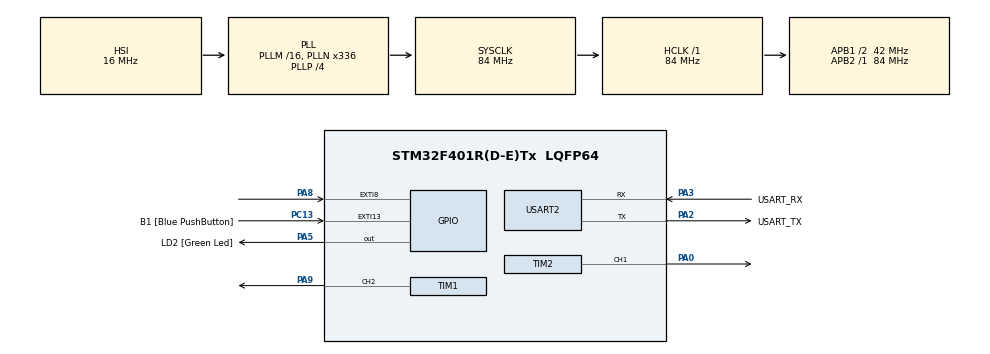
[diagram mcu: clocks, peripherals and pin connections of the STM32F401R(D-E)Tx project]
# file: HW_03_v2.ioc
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Mcu.Family=STM32F4
Mcu.Name=STM32F401R(D-E)Tx
Mcu.Package=LQFP64
NVIC.EXTI9_5_IRQn=true\:1\:0\:true\:false\:true\:true\:true\:true
NVIC.PriorityGroup=NVIC_PRIORITYGROUP_1
NVIC.TIM2_IRQn=true\:0\:0\:false\:false\:true\:true\:true\:true
PA0-WKUP.Signal=S_TIM2_CH1_ETR
PA13.GPIO_Label=TMS
PA13.Mode=Serial_Wire
PA13.Signal=SYS_JTMS-SWDIO
PA14.GPIO_Label=TCK
PA14.Mode=Serial_Wire
PA14.Signal=SYS_JTCK-SWCLK
PA2.GPIO_Label=USART_TX
PA2.GPIO_Mode=GPIO_MODE_AF_PP
PA2.GPIO_PuPd=GPIO_NOPULL
PA2.GPIO_Speed=GPIO_SPEED_FREQ_LOW
PA2.Mode=Asynchronous
PA2.Signal=USART2_TX
PA3.GPIO_Label=USART_RX
PA3.GPIO_Mode=GPIO_MODE_AF_PP
PA3.GPIO_PuPd=GPIO_NOPULL
PA3.GPIO_Speed=GPIO_SPEED_FREQ_LOW
PA3.Mode=Asynchronous
PA3.Signal=USART2_RX
PA5.GPIO_Label=LD2 [Green Led]
PA5.GPIO_Mode=GPIO_MODE_OUTPUT_PP
PA5.GPIO_PuPd=GPIO_NOPULL
PA5.GPIO_Speed=GPIO_SPEED_FREQ_LOW
PA5.Signal=GPIO_Output
PA8.Signal=GPXTI8
PA9.Signal=S_TIM1_CH2
PB3.GPIO_Label=SWO
PB3.Signal=SYS_JTDO-SWO
PC13-ANTI_TAMP.GPIO_Label=B1 [Blue PushButton]
PC13-ANTI_TAMP.GPIO_ModeDefaultEXTI=GPIO_MODE_IT_FALLING
PC13-ANTI_TAMP.GPIO_PuPd=GPIO_NOPULL
PC13-ANTI_TAMP.Signal=GPXTI13
PC14-OSC32_IN.Mode=LSE-External-Oscillator
PC14-OSC32_IN.Signal=RCC_OSC32_IN
PC15-OSC32_OUT.Mode=LSE-External-Oscillator
PC15-OSC32_OUT.Signal=RCC_OSC32_OUT
PH0\ -\ OSC_IN.Mode=HSE-External-Clock-Source
PH0\ -\ OSC_IN.Signal=RCC_OSC_IN
PH1\ -\ OSC_OUT.Mode=HSE-External-Clock-Source
PH1\ -\ OSC_OUT.Signal=RCC_OSC_OUT
ProjectManager.HeapSize=0x200
ProjectManager.StackSize=0x400
ProjectManager.TargetToolchain=STM32CubeIDE
RCC.48MHZClocksFreq_Value=48000000
RCC.AHBFreq_Value=84000000
RCC.APB1CLKDivider=RCC_HCLK_DIV2
RCC.APB1Freq_Value=42000000
RCC.APB1TimFreq_Value=84000000
RCC.APB2Freq_Value=84000000
RCC.APB2TimFreq_Value=84000000
RCC.CortexFreq_Value=84000000
RCC.HCLKFreq_Value=84000000
RCC.HSE_VALUE=8000000
RCC.HSI_VALUE=16000000
RCC.PLLN=336
RCC.PLLP=RCC_PLLP_DIV4
RCC.PLLQ=7
RCC.SYSCLKFreq_VALUE=84000000
RCC.SYSCLKSource=RCC_SYSCLKSOURCE_PLLCLK
RCC.VCOOutputFreq_Value=336000000
SH.S_TIM1_CH2.0=TIM1_CH2,PWM Generation2 CH2
SH.S_TIM2_CH1_ETR.0=TIM2_CH1,Output Compare1 CH1
TIM1.Channel-PWM\ Generation2\ CH2=TIM_CHANNEL_2
TIM2.Channel-Output\ Compare1\ CH1=TIM_CHANNEL_1
TIM2.Period=10000-1
TIM2.Prescaler=8400
USART2.VirtualMode=VM_ASYNC
VP_TIM1_VS_ClockSourceINT.Mode=Internal
VP_TIM2_VS_ClockSourceINT.Mode=Internal
board=NUCLEO-F401RE

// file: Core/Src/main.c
/* USER CODE BEGIN Header */
/**
  ******************************************************************************
  * @file           : main.c
  * @brief          : Main program body
  ******************************************************************************
  * @attention
  *
  * Copyright (c) 2024 STMicroelectronics.
  * All rights reserved.
  *
  * This software is licensed under terms that can be found in the LICENSE file
  * in the root directory of this software component.
  * If no LICENSE file comes with this software, it is provided AS-IS.
  *
  ******************************************************************************
  */
/* USER CODE END Header */
#include "main.h"

/* USER CODE BEGIN PTD */

typedef struct note {
	int period;
	int duration;
} note;

/* USER CODE END PTD */

/* USER CODE BEGIN PD */

#define _DO4 3205
#define _DOD4 3031
#define _RE4 2856
#define _RED4 2699
#define _MI4 2544
#define _FA4 2405
#define _FAD4 2269
#define _SOL4 2141
#define _SOLD4 3141
#define _LA4 1908
#define _LAD4 1801
#define _SI4 1699

#define TIME 75

/* USER CODE END PD */

TIM_HandleTypeDef htim1;
TIM_HandleTypeDef htim2;

UART_HandleTypeDef huart2;

/* USER CODE BEGIN PV */

// Hymn to joy
note song[] = {
		{ _MI4, 2},
		{ _MI4, 2},
		{ _FA4, 2},
		{ _SOL4, 2},
		{ _SOL4, 2},
		{ _FA4, 2},
		{ _MI4, 2},
		{ _RE4, 2},
		{ _DO4,2},
		{ _DO4,2},
		{ _RE4, 2},
		{ _MI4, 2},
		{ _MI4, 2},
		{ _RE4, 1.5},
		{ _RE4, 3},
		{ _MI4, 2},
		{ _MI4, 2},
		{ _FA4, 2},
		{ _SOL4, 2},
		{ _SOL4, 2},
		{ _FA4, 2},
		{ _MI4, 2},
		{ _RE4, 2},
		{ _DO4, 2},
		{ _DO4, 2},
		{ _RE4, 2},
		{ _MI4, 2},
		{ _RE4, 2},
		{ _DO4, 1.5},
		{ _DO4, 3}
};

int currentNote = 0;
volatile uint8_t play = 0;

/* USER CODE END PV */

void SystemClock_Config(void);
static void MX_GPIO_Init(void);
static void MX_USART2_UART_Init(void);
static void MX_TIM1_Init(void);
static void MX_TIM2_Init(void);

/* USER CODE BEGIN 0 */

void playNote() {
	TIM_ClockConfigTypeDef sClockSourceConfig = {0};
	  TIM_MasterConfigTypeDef sMasterConfig = {0};
	  TIM_OC_InitTypeDef sConfigOC = {0};
	  TIM_BreakDeadTimeConfigTypeDef sBreakDeadTimeConfig = {0};

	  htim1.Instance = TIM1;
	  htim1.Init.Prescaler = 100-1;                                                ///LA4=1908=denominatore, voglio f=440hz, quindi Prescaler deve=100. infatti f=440=84*10^6 / (100*1908)
	  htim1.Init.CounterMode = TIM_COUNTERMODE_UP;
	  htim1.Init.Period = song[currentNote].period;                                ///period è la nota definita con la define
	  htim1.Init.ClockDivision = TIM_CLOCKDIVISION_DIV1;
	  htim1.Init.RepetitionCounter = 0;
	  htim1.Init.AutoReloadPreload = TIM_AUTORELOAD_PRELOAD_DISABLE;
	  if (HAL_TIM_Base_Init(&htim1) != HAL_OK)
	  {
		Error_Handler();
	  }
	  sClockSourceConfig.ClockSource = TIM_CLOCKSOURCE_INTERNAL;
	  if (HAL_TIM_ConfigClockSource(&htim1, &sClockSourceConfig) != HAL_OK)
	  {
		Error_Handler();
	  }
	  if (HAL_TIM_PWM_Init(&htim1) != HAL_OK)
	  {
		Error_Handler();
	  }
	  sMasterConfig.MasterOutputTrigger = TIM_TRGO_RESET;
	  sMasterConfig.MasterSlaveMode = TIM_MASTERSLAVEMODE_DISABLE;
	  if (HAL_TIMEx_MasterConfigSynchronization(&htim1, &sMasterConfig) != HAL_OK)
	  {
		Error_Handler();
	  }
	  sConfigOC.OCMode = TIM_OCMODE_PWM1;
	  sConfigOC.Pulse = song[currentNote].period / 2;                                   ///because i want the duty cycle of 50%
	  sConfigOC.OCPolarity = TIM_OCPOLARITY_HIGH;
	  sConfigOC.OCNPolarity = TIM_OCNPOLARITY_HIGH;
	  sConfigOC.OCFastMode = TIM_OCFAST_DISABLE;
	  sConfigOC.OCIdleState = TIM_OCIDLESTATE_RESET;
	  sConfigOC.OCNIdleState = TIM_OCNIDLESTATE_RESET;
	  if (HAL_TIM_PWM_ConfigChannel(&htim1, &sConfigOC, TIM_CHANNEL_2) != HAL_OK)
	  {
		Error_Handler();
	  }
	  sBreakDeadTimeConfig.OffStateRunMode = TIM_OSSR_DISABLE;
	  sBreakDeadTimeConfig.OffStateIDLEMode = TIM_OSSI_DISABLE;
	  sBreakDeadTimeConfig.LockLevel = TIM_LOCKLEVEL_OFF;
	  sBreakDeadTimeConfig.DeadTime = 0;
	  sBreakDeadTimeConfig.BreakState = TIM_BREAK_DISABLE;
	  sBreakDeadTimeConfig.BreakPolarity = TIM_BREAKPOLARITY_HIGH;
	  sBreakDeadTimeConfig.AutomaticOutput = TIM_AUTOMATICOUTPUT_DISABLE;
	  if (HAL_TIMEx_ConfigBreakDeadTime(&htim1, &sBreakDeadTimeConfig) != HAL_OK)
	  {
		Error_Handler();
	  }

	  HAL_TIM_MspPostInit(&htim1);

	  HAL_TIM_PWM_Start(&htim1, TIM_CHANNEL_2);  // Start the PWM
}

void startDuration() {

	//__HAL_TIM_SET_AUTORELOAD(&htim2, 10000-1);      // commented because is a wrong duration
	  TIM_ClockConfigTypeDef sClockSourceConfig = {0};
	  TIM_MasterConfigTypeDef sMasterConfig = {0};
	  TIM_OC_InitTypeDef sConfigOC = {0};

	  /* USER CODE BEGIN TIM2_Init 1 */

	  /* USER CODE END TIM2_Init 1 */
	  htim2.Instance = TIM2;
	  htim2.Init.Prescaler = 8400;
	  htim2.Init.CounterMode = TIM_COUNTERMODE_UP;

	  htim2.Init.Period = (2000-1) * song[currentNote].duration;   // (Period = 10000 - 1 == 1 second), prescaler = 8400 and period = 2000, then f=5hz and T=0.2s
	  htim2.Init.ClockDivision = TIM_CLOCKDIVISION_DIV1;
	  htim2.Init.AutoReloadPreload = TIM_AUTORELOAD_PRELOAD_DISABLE;
	  if (HAL_TIM_Base_Init(&htim2) != HAL_OK)
	  {
		Error_Handler();
	  }
	  sClockSourceConfig.ClockSource = TIM_CLOCKSOURCE_INTERNAL;
	  if (HAL_TIM_ConfigClockSource(&htim2, &sClockSourceConfig) != HAL_OK)
	  {
		Error_Handler();
	  }
	  if (HAL_TIM_OC_Init(&htim2) != HAL_OK)
	  {
		Error_Handler();
	  }
	  sMasterConfig.MasterOutputTrigger = TIM_TRGO_RESET;
	  sMasterConfig.MasterSlaveMode = TIM_MASTERSLAVEMODE_DISABLE;
	  if (HAL_TIMEx_MasterConfigSynchronization(&htim2, &sMasterConfig) != HAL_OK)
	  {
		Error_Handler();
	  }
	  sConfigOC.OCMode = TIM_OCMODE_TIMING;
	  sConfigOC.Pulse = 0;
	  sConfigOC.OCPolarity = TIM_OCPOLARITY_HIGH;
	  sConfigOC.OCFastMode = TIM_OCFAST_DISABLE;
	  if (HAL_TIM_OC_ConfigChannel(&htim2, &sConfigOC, TIM_CHANNEL_1) != HAL_OK)
	  {
		Error_Handler();
	  }
	  /* USER CODE BEGIN TIM2_Init 2 */

	  /* USER CODE END TIM2_Init 2 */
	  HAL_TIM_MspPostInit(&htim2);

	  HAL_TIM_Base_Start_IT(&htim2);
}

void HAL_TIM_PeriodElapsedCallback(TIM_HandleTypeDef *htim) {
	if (htim->Instance == TIM2) {
		// Stop the current note
		HAL_TIM_PWM_Stop(&htim1, TIM_CHANNEL_2);

		// Move to the next note
		currentNote++;
		if (currentNote >= (sizeof(song) / sizeof(song[0]) )) {
			currentNote = 0;  //reset to 0 in order to enable the song to be played again
			play = 0;          //song is not playing currently
			HAL_TIM_Base_Stop_IT(&htim2);
			return;
		}

		// Play the next note
		playNote();

		// Start timer for the next note's duration
		startDuration();
	}
}

void HAL_GPIO_EXTI_Callback(uint16_t GPIO_Pin){  //if there is an interrupt on the microphone
	  switch(GPIO_Pin){
	  case GPIO_PIN_8:
		  if(play == 0){
			  play = 1;  //set that the song is currently playing
			  playNote(); //start the first note
			  startDuration(); //start the delay for the first note
		  }
		  break;
	  default:
		  break;
	  }
}

/* USER CODE END 0 */

int main(void)
{

  /* MCU Configuration--------------------------------------------------------*/

  /* Reset of all peripherals, Initializes the Flash interface and the Systick. */
  HAL_Init();

  /* Configure the system clock */
  SystemClock_Config();

  /* Initialize all configured peripherals */
  MX_GPIO_Init();
  MX_USART2_UART_Init();
  MX_TIM1_Init();
  MX_TIM2_Init();

  /* Infinite loop */
  while (1)
  {

  }
}

void SystemClock_Config(void)
{
  RCC_OscInitTypeDef RCC_OscInitStruct = {0};
  RCC_ClkInitTypeDef RCC_ClkInitStruct = {0};

  /** Configure the main internal regulator output voltage
  */
  __HAL_RCC_PWR_CLK_ENABLE();
  __HAL_PWR_VOLTAGESCALING_CONFIG(PWR_REGULATOR_VOLTAGE_SCALE2);

  /** Initializes the RCC Oscillators according to the specified parameters
  * in the RCC_OscInitTypeDef structure.
  */
  RCC_OscInitStruct.OscillatorType = RCC_OSCILLATORTYPE_HSI;
  RCC_OscInitStruct.HSIState = RCC_HSI_ON;
  RCC_OscInitStruct.HSICalibrationValue = RCC_HSICALIBRATION_DEFAULT;
  RCC_OscInitStruct.PLL.PLLState = RCC_PLL_ON;
  RCC_OscInitStruct.PLL.PLLSource = RCC_PLLSOURCE_HSI;
  RCC_OscInitStruct.PLL.PLLM = 16;
  RCC_OscInitStruct.PLL.PLLN = 336;
  RCC_OscInitStruct.PLL.PLLP = RCC_PLLP_DIV4;
  RCC_OscInitStruct.PLL.PLLQ = 7;
  if (HAL_RCC_OscConfig(&RCC_OscInitStruct) != HAL_OK)
  {
    Error_Handler();
  }

  /** Initializes the CPU, AHB and APB buses clocks
  */
  RCC_ClkInitStruct.ClockType = RCC_CLOCKTYPE_HCLK|RCC_CLOCKTYPE_SYSCLK
                              |RCC_CLOCKTYPE_PCLK1|RCC_CLOCKTYPE_PCLK2;
  RCC_ClkInitStruct.SYSCLKSource = RCC_SYSCLKSOURCE_PLLCLK;
  RCC_ClkInitStruct.AHBCLKDivider = RCC_SYSCLK_DIV1;
  RCC_ClkInitStruct.APB1CLKDivider = RCC_HCLK_DIV2;
  RCC_ClkInitStruct.APB2CLKDivider = RCC_HCLK_DIV1;

  if (HAL_RCC_ClockConfig(&RCC_ClkInitStruct, FLASH_LATENCY_2) != HAL_OK)
  {
    Error_Handler();
  }
}

static void MX_TIM1_Init(void)
{

  TIM_ClockConfigTypeDef sClockSourceConfig = {0};
  TIM_MasterConfigTypeDef sMasterConfig = {0};
  TIM_OC_InitTypeDef sConfigOC = {0};
  TIM_BreakDeadTimeConfigTypeDef sBreakDeadTimeConfig = {0};

  htim1.Instance = TIM1;
  htim1.Init.Prescaler = 0;
  htim1.Init.CounterMode = TIM_COUNTERMODE_UP;
  htim1.Init.Period = 65535;
  htim1.Init.ClockDivision = TIM_CLOCKDIVISION_DIV1;
  htim1.Init.RepetitionCounter = 0;
  htim1.Init.AutoReloadPreload = TIM_AUTORELOAD_PRELOAD_DISABLE;
  if (HAL_TIM_Base_Init(&htim1) != HAL_OK)
  {
    Error_Handler();
  }
  sClockSourceConfig.ClockSource = TIM_CLOCKSOURCE_INTERNAL;
  if (HAL_TIM_ConfigClockSource(&htim1, &sClockSourceConfig) != HAL_OK)
  {
    Error_Handler();
  }
  if (HAL_TIM_PWM_Init(&htim1) != HAL_OK)
  {
    Error_Handler();
  }
  sMasterConfig.MasterOutputTrigger = TIM_TRGO_RESET;
  sMasterConfig.MasterSlaveMode = TIM_MASTERSLAVEMODE_DISABLE;
  if (HAL_TIMEx_MasterConfigSynchronization(&htim1, &sMasterConfig) != HAL_OK)
  {
    Error_Handler();
  }
  sConfigOC.OCMode = TIM_OCMODE_PWM1;
  sConfigOC.Pulse = 0;
  sConfigOC.OCPolarity = TIM_OCPOLARITY_HIGH;
  sConfigOC.OCNPolarity = TIM_OCNPOLARITY_HIGH;
  sConfigOC.OCFastMode = TIM_OCFAST_DISABLE;
  sConfigOC.OCIdleState = TIM_OCIDLESTATE_RESET;
  sConfigOC.OCNIdleState = TIM_OCNIDLESTATE_RESET;
  if (HAL_TIM_PWM_ConfigChannel(&htim1, &sConfigOC, TIM_CHANNEL_2) != HAL_OK)
  {
    Error_Handler();
  }
  sBreakDeadTimeConfig.OffStateRunMode = TIM_OSSR_DISABLE;
  sBreakDeadTimeConfig.OffStateIDLEMode = TIM_OSSI_DISABLE;
  sBreakDeadTimeConfig.LockLevel = TIM_LOCKLEVEL_OFF;
  sBreakDeadTimeConfig.DeadTime = 0;
  sBreakDeadTimeConfig.BreakState = TIM_BREAK_DISABLE;
  sBreakDeadTimeConfig.BreakPolarity = TIM_BREAKPOLARITY_HIGH;
  sBreakDeadTimeConfig.AutomaticOutput = TIM_AUTOMATICOUTPUT_DISABLE;
  if (HAL_TIMEx_ConfigBreakDeadTime(&htim1, &sBreakDeadTimeConfig) != HAL_OK)
  {
    Error_Handler();
  }
  HAL_TIM_MspPostInit(&htim1);

}

static void MX_TIM2_Init(void)
{

  TIM_ClockConfigTypeDef sClockSourceConfig = {0};
  TIM_MasterConfigTypeDef sMasterConfig = {0};
  TIM_OC_InitTypeDef sConfigOC = {0};

  htim2.Instance = TIM2;
  htim2.Init.Prescaler = 8400;
  htim2.Init.CounterMode = TIM_COUNTERMODE_UP;
  htim2.Init.Period = 10000-1;
  htim2.Init.ClockDivision = TIM_CLOCKDIVISION_DIV1;
  htim2.Init.AutoReloadPreload = TIM_AUTORELOAD_PRELOAD_DISABLE;
  if (HAL_TIM_Base_Init(&htim2) != HAL_OK)
  {
    Error_Handler();
  }
  sClockSourceConfig.ClockSource = TIM_CLOCKSOURCE_INTERNAL;
  if (HAL_TIM_ConfigClockSource(&htim2, &sClockSourceConfig) != HAL_OK)
  {
    Error_Handler();
  }
  if (HAL_TIM_OC_Init(&htim2) != HAL_OK)
  {
    Error_Handler();
  }
  sMasterConfig.MasterOutputTrigger = TIM_TRGO_RESET;
  sMasterConfig.MasterSlaveMode = TIM_MASTERSLAVEMODE_DISABLE;
  if (HAL_TIMEx_MasterConfigSynchronization(&htim2, &sMasterConfig) != HAL_OK)
  {
    Error_Handler();
  }
  sConfigOC.OCMode = TIM_OCMODE_TIMING;
  sConfigOC.Pulse = 0;
  sConfigOC.OCPolarity = TIM_OCPOLARITY_HIGH;
  sConfigOC.OCFastMode = TIM_OCFAST_DISABLE;
  if (HAL_TIM_OC_ConfigChannel(&htim2, &sConfigOC, TIM_CHANNEL_1) != HAL_OK)
  {
    Error_Handler();
  }
  HAL_TIM_MspPostInit(&htim2);

}

static void MX_USART2_UART_Init(void)
{

  huart2.Instance = USART2;
  huart2.Init.BaudRate = 115200;
  huart2.Init.WordLength = UART_WORDLENGTH_8B;
  huart2.Init.StopBits = UART_STOPBITS_1;
  huart2.Init.Parity = UART_PARITY_NONE;
  huart2.Init.Mode = UART_MODE_TX_RX;
  huart2.Init.HwFlowCtl = UART_HWCONTROL_NONE;
  huart2.Init.OverSampling = UART_OVERSAMPLING_16;
  if (HAL_UART_Init(&huart2) != HAL_OK)
  {
    Error_Handler();
  }

}

static void MX_GPIO_Init(void)
{
  GPIO_InitTypeDef GPIO_InitStruct = {0};

  /* GPIO Ports Clock Enable */
  __HAL_RCC_GPIOC_CLK_ENABLE();
  __HAL_RCC_GPIOH_CLK_ENABLE();
  __HAL_RCC_GPIOA_CLK_ENABLE();
  __HAL_RCC_GPIOB_CLK_ENABLE();

  /*Configure GPIO pin Output Level */
  HAL_GPIO_WritePin(LD2_GPIO_Port, LD2_Pin, GPIO_PIN_RESET);

  /*Configure GPIO pin : B1_Pin */
  GPIO_InitStruct.Pin = B1_Pin;
  GPIO_InitStruct.Mode = GPIO_MODE_IT_FALLING;
  GPIO_InitStruct.Pull = GPIO_NOPULL;
  HAL_GPIO_Init(B1_GPIO_Port, &GPIO_InitStruct);

  /*Configure GPIO pin : LD2_Pin */
  GPIO_InitStruct.Pin = LD2_Pin;
  GPIO_InitStruct.Mode = GPIO_MODE_OUTPUT_PP;
  GPIO_InitStruct.Pull = GPIO_NOPULL;
  GPIO_InitStruct.Speed = GPIO_SPEED_FREQ_LOW;
  HAL_GPIO_Init(LD2_GPIO_Port, &GPIO_InitStruct);

  /*Configure GPIO pin : PA8 */
  GPIO_InitStruct.Pin = GPIO_PIN_8;
  GPIO_InitStruct.Mode = GPIO_MODE_IT_RISING;
  GPIO_InitStruct.Pull = GPIO_NOPULL;
  HAL_GPIO_Init(GPIOA, &GPIO_InitStruct);

  /* EXTI interrupt init*/
  HAL_NVIC_SetPriority(EXTI9_5_IRQn, 1, 0);
  HAL_NVIC_EnableIRQ(EXTI9_5_IRQn);

}

void Error_Handler(void)
{
  __disable_irq();
  while (1)
  {
  }
}
